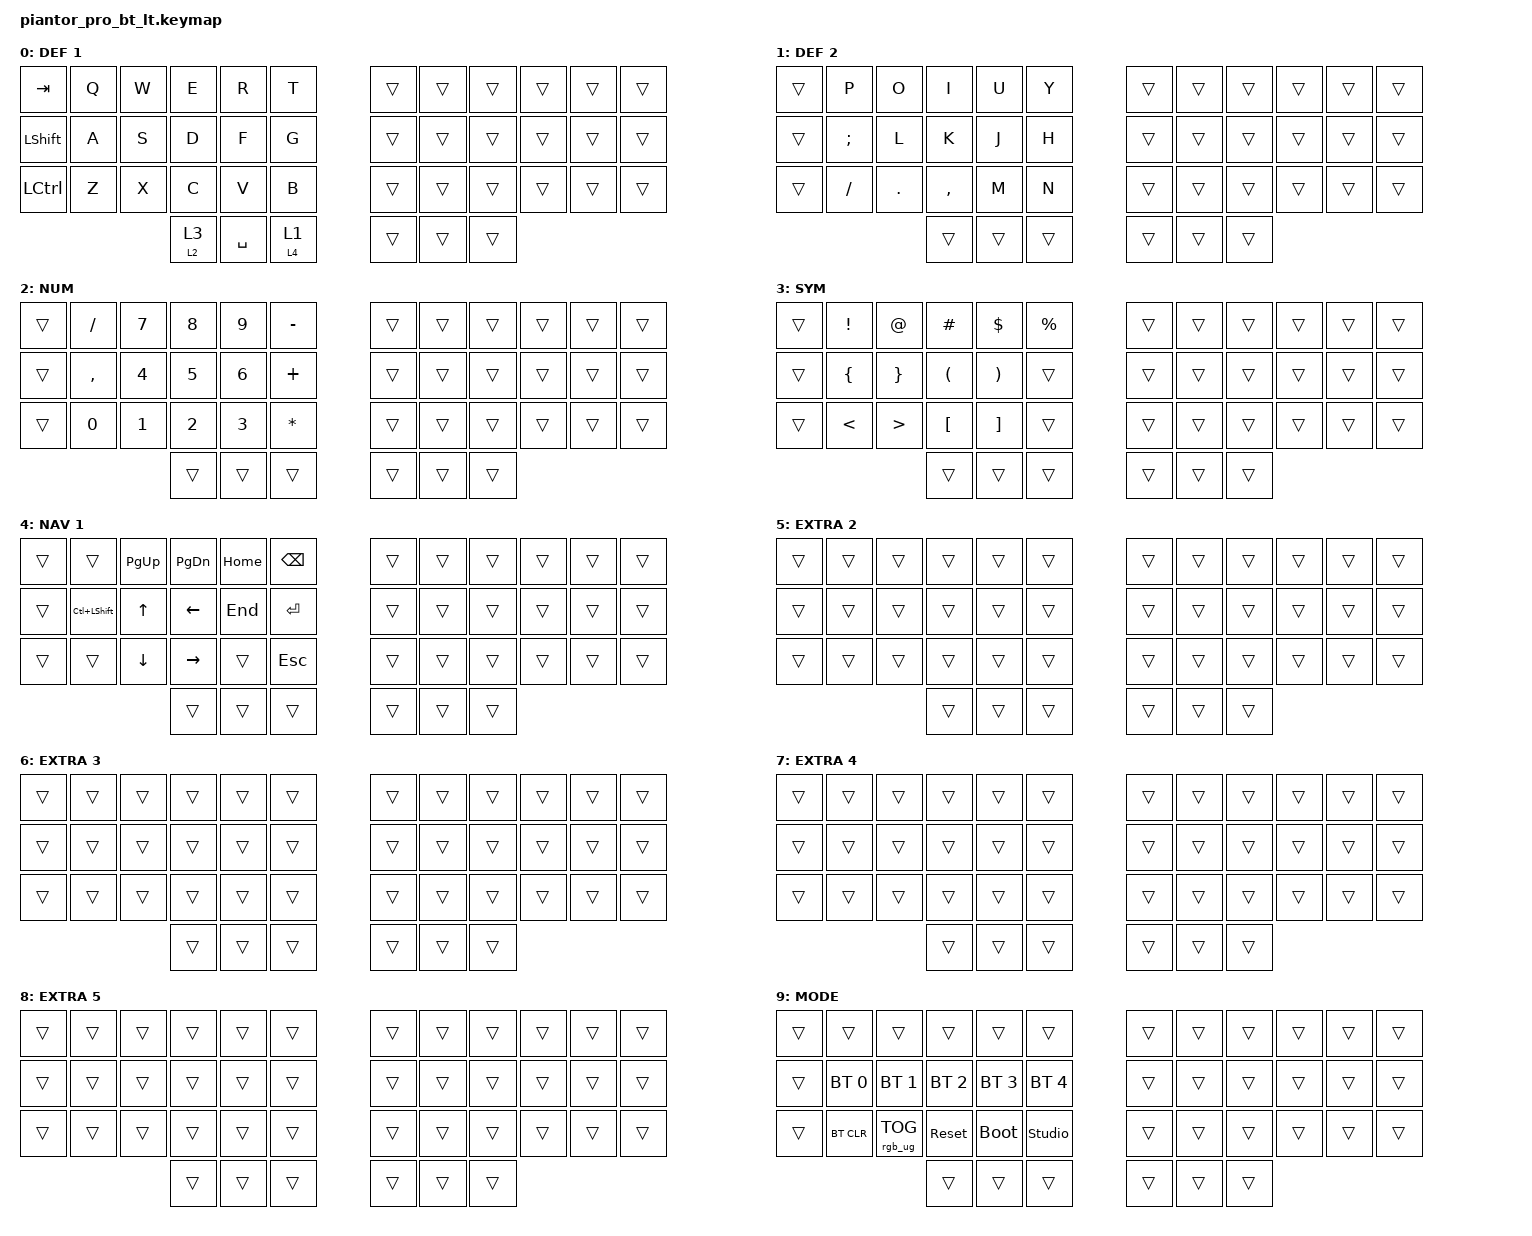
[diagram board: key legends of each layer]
/*
 * Copyright (c) 2020 The ZMK Contributors
 *
 * SPDX-License-Identifier: MIT
 */

#include <behaviors.dtsi>
#include <dt-bindings/zmk/bt.h>
#include <dt-bindings/zmk/keys.h>
#include <dt-bindings/zmk/rgb.h>

/ {
    chosen { zmk,physical-layout = &default_layout; };
};

/ {
    behaviors {
        td_q_p: tap_dance_q_p {
            compatible = "zmk,behavior-tap-dance";
            #binding-cells = <0>;
            tapping-term-ms = <400>;
            bindings = <&kp Q>, <&kp P>;
        };

        td_w_o: tap_dance_w_o {
            compatible = "zmk,behavior-tap-dance";
            #binding-cells = <0>;
            tapping-term-ms = <400>;
            bindings = <&kp W>, <&kp O>;
        };

        td_e_i: tap_dance_e_i {
            compatible = "zmk,behavior-tap-dance";
            #binding-cells = <0>;
            tapping-term-ms = <400>;
            bindings = <&kp E>, <&kp I>;
        };

        td_r_u: tap_dance_r_u {
            compatible = "zmk,behavior-tap-dance";
            #binding-cells = <0>;
            tapping-term-ms = <400>;
            bindings = <&kp R>, <&kp U>;
        };

        td_t_y: tap_dance_t_y {
            compatible = "zmk,behavior-tap-dance";
            #binding-cells = <0>;
            tapping-term-ms = <400>;
            bindings = <&kp T>, <&kp Y>;
        };

        td_a_smi: tap_dance_a_semi {
            compatible = "zmk,behavior-tap-dance";
            #binding-cells = <0>;
            tapping-term-ms = <400>;
            bindings = <&kp A>, <&kp SEMI>;
        };

        td_s_l: tap_dance_s_l {
            compatible = "zmk,behavior-tap-dance";
            #binding-cells = <0>;
            tapping-term-ms = <400>;
            bindings = <&kp S>, <&kp L>;
        };

        td_d_k: tap_dance_d_k {
            compatible = "zmk,behavior-tap-dance";
            #binding-cells = <0>;
            tapping-term-ms = <400>;
            bindings = <&kp D>, <&kp K>;
        };

        td_f_j: tap_dance_f_j {
            compatible = "zmk,behavior-tap-dance";
            #binding-cells = <0>;
            tapping-term-ms = <400>;
            bindings = <&kp F>, <&kp J>;
        };

        td_g_h: tap_dance_g_h {
            compatible = "zmk,behavior-tap-dance";
            #binding-cells = <0>;
            tapping-term-ms = <400>;
            bindings = <&kp G>, <&kp H>;
        };

        td_z_fsl: tap_dance_z_fslh {
            compatible = "zmk,behavior-tap-dance";
            #binding-cells = <0>;
            tapping-term-ms = <400>;
            bindings = <&kp Z>, <&kp FSLH>;
        };

        td_x_dot: tap_dance_x_dot {
            compatible = "zmk,behavior-tap-dance";
            #binding-cells = <0>;
            tapping-term-ms = <400>;
            bindings = <&kp X>, <&kp DOT>;
        };

        td_c_cma: tap_dance_c_comma {
            compatible = "zmk,behavior-tap-dance";
            #binding-cells = <0>;
            tapping-term-ms = <400>;
            bindings = <&kp C>, <&kp COMMA>;
        };

        td_v_m: tap_dance_v_m {
            compatible = "zmk,behavior-tap-dance";
            #binding-cells = <0>;
            tapping-term-ms = <400>;
            bindings = <&kp V>, <&kp M>;
        };

        td_b_n: tap_dance_b_n {
            compatible = "zmk,behavior-tap-dance";
            #binding-cells = <0>;
            tapping-term-ms = <400>;
            bindings = <&kp B>, <&kp N>;
        };

        td_mo1_mo2: tap_dance_mod_select {
            compatible = "zmk,behavior-tap-dance";
            #binding-cells = <0>;
            tapping-term-ms = <400>;
            bindings = <&mo 1>, <&mo 2>;
        };

        td_spc_ent: tap_dance_space_enter {
            compatible = "zmk,behavior-tap-dance";
            #binding-cells = <0>;
            tapping-term-ms = <400>;
            bindings = <&kp SPACE>, <&kp RET>;
        };

        mt: mod_tap {
            compatible = "zmk,behavior-hold-tap";
            #binding-cells = <2>;
            tapping-term-ms = <200>;
            bindings = <&mo>, <&td_f_j>;

            display-name = "Mod-Tap";
        };

        mt_mo1_sl2: mt_mo1_sl2 {
            compatible = "zmk,behavior-hold-tap";
            bindings = <&mo>, <&sl>;

            #binding-cells = <2>;
            tapping-term-ms = <250>;
            label = "MT_MO1_SL2";
        };

        mt_mo3_sl4: mt_mo3_sl4 {
            compatible = "zmk,behavior-hold-tap";
            label = "MT_MO3_SL4";
            bindings = <&mo>, <&sl>;

            #binding-cells = <2>;
            tapping-term-ms = <250>;
        };
    };

    keymap {
        compatible = "zmk,keymap";

        default_layer_1 {
            display-name = "DEF 1";
            bindings = <
&kp TAB         &kp Q  &kp W  &kp E            &kp R      &kp T              &trans  &trans  &trans  &trans  &trans  &trans
&kp LEFT_SHIFT  &kp A  &kp S  &kp D            &kp F      &kp G              &trans  &trans  &trans  &trans  &trans  &trans
&kp LCTRL       &kp Z  &kp X  &kp C            &kp V      &kp B              &trans  &trans  &trans  &trans  &trans  &trans
                              &mt_mo3_sl4 2 3  &kp SPACE  &mt_mo1_sl2 4 1    &trans  &trans  &trans
            >;
        };

        default_layer_2 {
            display-name = "DEF 2";
            bindings = <
&trans  &kp P     &kp O    &kp I      &kp U   &kp Y     &trans  &trans  &trans  &trans  &trans  &trans
&trans  &kp SEMI  &kp L    &kp K      &kp J   &kp H     &trans  &trans  &trans  &trans  &trans  &trans
&trans  &kp FSLH  &kp DOT  &kp COMMA  &kp M   &kp N     &trans  &trans  &trans  &trans  &trans  &trans
                           &trans     &trans  &trans    &trans  &trans  &trans
            >;
        };

        number_layer {
            display-name = "NUM";
            bindings = <
&trans  &kp SLASH  &kp N7  &kp N8  &kp N9  &kp MINUS       &trans  &trans  &trans  &trans  &trans  &trans
&trans  &kp COMMA  &kp N4  &kp N5  &kp N6  &kp PLUS        &trans  &trans  &trans  &trans  &trans  &trans
&trans  &kp N0     &kp N1  &kp N2  &kp N3  &kp ASTERISK    &trans  &trans  &trans  &trans  &trans  &trans
                           &trans  &trans  &trans          &trans  &trans  &trans
            >;
        };

        symbol_layer {
            display-name = "SYM";
            bindings = <
&trans  &kp EXCL  &kp AT    &kp HASH  &kp DLLR  &kp PRCNT    &trans  &trans  &trans  &trans  &trans  &trans
&trans  &kp LBRC  &kp RBRC  &kp LPAR  &kp RPAR  &trans       &trans  &trans  &trans  &trans  &trans  &trans
&trans  &kp LT    &kp GT    &kp LBKT  &kp RBKT  &trans       &trans  &trans  &trans  &trans  &trans  &trans
                            &trans    &trans    &trans       &trans  &trans  &trans
            >;
        };

        nav_layer_1 {
            display-name = "NAV 1";
            bindings = <
&trans  &trans              &kp PG_UP  &kp PG_DN  &kp HOME  &kp BACKSPACE    &trans  &trans  &trans  &trans  &trans  &trans
&trans  &kp LC(LEFT_SHIFT)  &kp UP     &kp LEFT   &kp END   &kp ENTER        &trans  &trans  &trans  &trans  &trans  &trans
&trans  &trans              &kp DOWN   &kp RIGHT  &trans    &kp ESCAPE       &trans  &trans  &trans  &trans  &trans  &trans
                                       &trans     &trans    &trans           &trans  &trans  &trans
            >;
        };

        extra_layer_2 {
            display-name = "EXTRA 2";
            bindings = <
&trans  &trans  &trans  &trans  &trans  &trans    &trans  &trans  &trans  &trans  &trans  &trans
&trans  &trans  &trans  &trans  &trans  &trans    &trans  &trans  &trans  &trans  &trans  &trans
&trans  &trans  &trans  &trans  &trans  &trans    &trans  &trans  &trans  &trans  &trans  &trans
                        &trans  &trans  &trans    &trans  &trans  &trans
            >;
        };

        extra_layer_3 {
            display-name = "EXTRA 3";
            bindings = <
&trans  &trans  &trans  &trans  &trans  &trans    &trans  &trans  &trans  &trans  &trans  &trans
&trans  &trans  &trans  &trans  &trans  &trans    &trans  &trans  &trans  &trans  &trans  &trans
&trans  &trans  &trans  &trans  &trans  &trans    &trans  &trans  &trans  &trans  &trans  &trans
                        &trans  &trans  &trans    &trans  &trans  &trans
            >;
        };

        extra_layer_4 {
            display-name = "EXTRA 4";
            bindings = <
&trans  &trans  &trans  &trans  &trans  &trans    &trans  &trans  &trans  &trans  &trans  &trans
&trans  &trans  &trans  &trans  &trans  &trans    &trans  &trans  &trans  &trans  &trans  &trans
&trans  &trans  &trans  &trans  &trans  &trans    &trans  &trans  &trans  &trans  &trans  &trans
                        &trans  &trans  &trans    &trans  &trans  &trans
            >;
        };

        extra_layer_5 {
            display-name = "EXTRA 5";
            bindings = <
&trans  &trans  &trans  &trans  &trans  &trans    &trans  &trans  &trans  &trans  &trans  &trans
&trans  &trans  &trans  &trans  &trans  &trans    &trans  &trans  &trans  &trans  &trans  &trans
&trans  &trans  &trans  &trans  &trans  &trans    &trans  &trans  &trans  &trans  &trans  &trans
                        &trans  &trans  &trans    &trans  &trans  &trans
            >;
        };

        mode_layer {
            display-name = "MODE";
            bindings = <
&trans  &trans        &trans           &trans        &trans        &trans            &trans  &trans  &trans  &trans  &trans  &trans
&trans  &bt BT_SEL 0  &bt BT_SEL 1     &bt BT_SEL 2  &bt BT_SEL 3  &bt BT_SEL 4      &trans  &trans  &trans  &trans  &trans  &trans
&trans  &bt BT_CLR    &rgb_ug RGB_TOG  &sys_reset    &bootloader   &studio_unlock    &trans  &trans  &trans  &trans  &trans  &trans
                                       &trans        &trans        &trans            &trans  &trans  &trans
            >;
        };
    };
};
